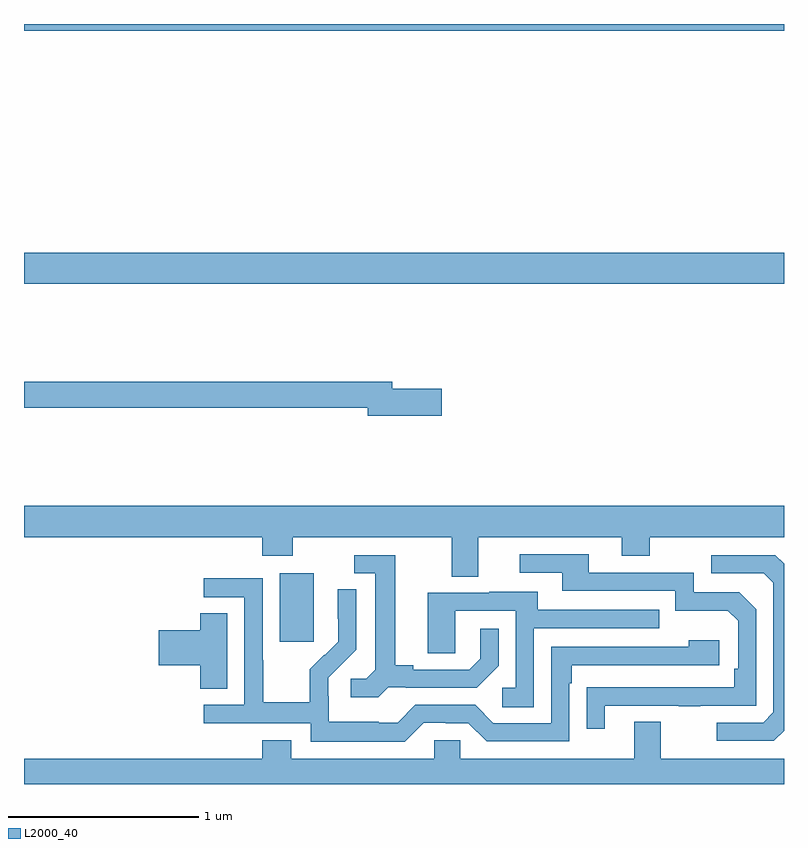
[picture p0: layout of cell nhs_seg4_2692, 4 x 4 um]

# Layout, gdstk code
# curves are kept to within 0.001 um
import gdstk
lib = gdstk.Library(unit=1e-6, precision=1e-09)
def R(c, l, rs):  # rectangles x0, y0, x1, y1
    for r in rs: c.add(gdstk.rectangle(r[:2], r[2:], *l))
def P(c, l, *ps):  # polygons
    for p in ps: c.add(gdstk.Polygon(p, *l))
L2000_40 = (2000, 40)

nhs_seg4_2692 = lib.new_cell('nhs_seg4_2692')
R(nhs_seg4_2692, L2000_40, [(254.345,749.649,254.524,750.01), (253,751.532,257,751.696), (253,752.864,257,752.9)])
P(nhs_seg4_2692, L2000_40, [(255.199,750.98),(254.938,750.98),(254.938,751.016),(253,751.016),(253,750.88),(254.81,750.88),(254.81,750.838),(255.199,750.838)],
  [(253,750.2),(254.255,750.2),(254.255,750.101),(254.415,750.101),(254.415,750.2),(255.251,750.2),(255.251,749.992),(255.391,749.992),(255.391,750.2),(256.145,750.2),(256.145,750.101),(256.293,750.101),(256.293,750.2),(257,750.2),(257,750.364),(253,750.364)],
  [(256.057,749.313),(256.447,749.313),(256.447,749.308),(256.559,749.308),(256.559,749.313),(256.854,749.313),(256.854,749.82),(256.764,749.91),(256.524,749.91),(256.524,750.012),(255.973,750.012),(255.973,750.108),(255.609,750.108),(255.609,750.012),(255.833,750.012),(255.833,749.916),(256.428,749.916),(256.428,749.813),(256.705,749.813),(256.758,749.76),(256.758,749.506),(256.738,749.506),(256.738,749.409),(255.961,749.408),(255.961,749.19),(256.057,749.19)],
  [(254.916,749.409),(255.01,749.409),(255.01,749.406),(255.382,749.406),(255.498,749.522),(255.498,749.716),(255.401,749.716),(255.401,749.559),(255.344,749.502),(255.049,749.502),(255.049,749.525),(254.953,749.525),(254.953,750.105),(254.739,750.105),(254.739,750.009),(254.849,750.009),(254.849,749.501),(254.802,749.454),(254.721,749.454),(254.721,749.357),(254.864,749.357)],
  [(257,749.18),(257,750.058),(256.953,750.105),(256.617,750.105),(256.617,750.009),(256.893,750.009),(256.944,749.958),(256.944,749.277),(256.89,749.223),(256.647,749.223),(256.647,749.127),(256.947,749.127)],
  [(255.105,749.223),(255.221,749.223),(255.221,749.22),(255.339,749.22),(255.435,749.124),(255.87,749.124),(255.87,749.429),(255.883,749.429),(255.883,749.526),(256.66,749.526),(256.66,749.656),(256.499,749.656),(256.499,749.622),(255.774,749.622),(255.774,749.22),(255.471,749.22),(255.375,749.316),(255.06,749.316),(254.967,749.223),(254.867,749.223),(254.867,749.227),(254.604,749.227),(254.604,749.361),(254.602,749.361),(254.602,749.458),(254.748,749.606),(254.748,749.924),(254.652,749.924),(254.652,749.77),(254.654,749.77),(254.654,749.648),(254.583,749.577),(254.58,749.58),(254.503,749.503),(254.503,749.329),(254.259,749.329),(254.259,749.552),(254.256,749.552),(254.256,749.982),(253.947,749.982),(253.947,749.883),(254.16,749.883),(254.16,749.316),(253.947,749.316),(253.947,749.22),(254.508,749.22),(254.508,749.123),(255.005,749.123)],
  [(255.684,749.721),(256.343,749.721),(256.343,749.817),(255.703,749.817),(255.703,749.911),(255.449,749.911),(255.449,749.907),(255.125,749.907),(255.125,749.587),(255.27,749.587),(255.27,749.811),(255.588,749.811),(255.588,749.406),(255.516,749.406),(255.516,749.305),(255.684,749.305)],
  [(254.071,749.798),(253.928,749.798),(253.928,749.708),(253.71,749.708),(253.71,749.525),(253.928,749.525),(253.928,749.401),(254.071,749.401)],
  [(257,749.032),(256.351,749.032),(256.351,749.227),(256.211,749.227),(256.211,749.032),(255.297,749.032),(255.297,749.13),(255.159,749.13),(255.159,749.032),(254.407,749.032),(254.407,749.131),(254.255,749.131),(254.255,749.032),(253,749.032),(253,748.9),(257,748.9)])

lib.write_gds('nhs_seg4_2692.gds')
